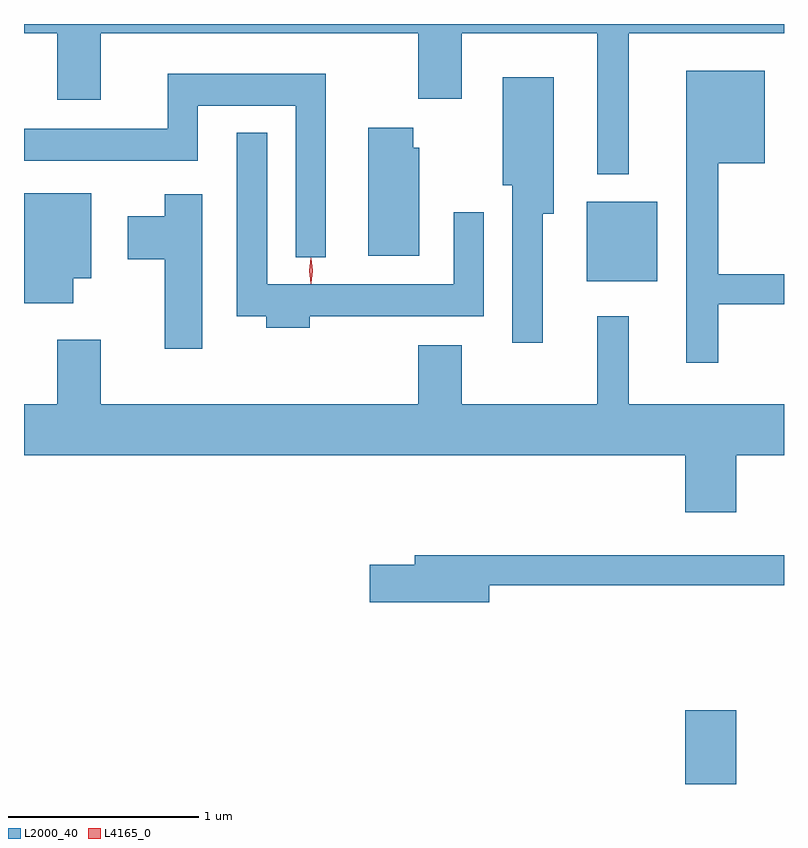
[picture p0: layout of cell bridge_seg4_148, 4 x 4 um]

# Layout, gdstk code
import gdstk
lib = gdstk.Library(unit=1e-6, precision=1e-09)
def R(c, l, rs):  # rectangles x0, y0, x1, y1
    for r in rs: c.add(gdstk.rectangle(r[:2], r[2:], *l))
def P(c, l, *ps):  # polygons
    for p in ps: c.add(gdstk.Polygon(p, *l))
L2000_40 = (2000, 40)
L4165_0 = (4165, 0)

bridge_seg4_148 = lib.new_cell('bridge_seg4_148')
R(bridge_seg4_148, L2000_40, [(794.496,1301.885,794.764,1302.274), (793.976,1304.531,794.349,1304.949)])
P(bridge_seg4_148, L2000_40, [(794.199,1305.836),(795.015,1305.836),(795.015,1305.885),(791.015,1305.885),(791.015,1305.836),(791.191,1305.836),(791.191,1305.486),(791.419,1305.486),(791.419,1305.836),(793.091,1305.836),(793.091,1305.491),(793.319,1305.491),(793.319,1305.836),(794.031,1305.836),(794.031,1305.093),(794.199,1305.093)],
  [(794.669,1304.411),(795.015,1304.411),(795.015,1304.569),(794.669,1304.569),(794.669,1305.151),(794.914,1305.151),(794.914,1305.639),(794.501,1305.639),(794.501,1304.103),(794.669,1304.103)],
  [(792.604,1305.624),(791.771,1305.624),(791.771,1305.334),(791.015,1305.334),(791.015,1305.166),(791.929,1305.166),(791.929,1305.456),(792.446,1305.456),(792.446,1304.658),(792.604,1304.658)],
  [(793.744,1304.886),(793.804,1304.886),(793.804,1305.604),(793.536,1305.604),(793.536,1305.036),(793.586,1305.036),(793.586,1304.208),(793.744,1304.208)],
  [(793.094,1305.234),(793.064,1305.234),(793.064,1305.339),(792.826,1305.339),(792.826,1304.666),(793.094,1304.666)],
  [(792.519,1304.346),(793.434,1304.346),(793.434,1304.893),(793.276,1304.893),(793.276,1304.514),(792.294,1304.514),(792.294,1305.313),(792.136,1305.313),(792.136,1304.346),(792.291,1304.346),(792.291,1304.286),(792.519,1304.286)],
  [(791.274,1304.546),(791.369,1304.546),(791.369,1304.994),(791.016,1304.994),(791.016,1304.416),(791.274,1304.416)],
  [(791.954,1304.989),(791.756,1304.989),(791.756,1304.874),(791.561,1304.874),(791.561,1304.646),(791.756,1304.646),(791.756,1304.176),(791.954,1304.176)],
  [(794.764,1303.616),(795.015,1303.616),(795.015,1303.884),(794.199,1303.884),(794.199,1304.348),(794.031,1304.348),(794.031,1303.884),(793.319,1303.884),(793.319,1304.194),(793.091,1304.194),(793.091,1303.884),(791.419,1303.884),(791.419,1304.224),(791.191,1304.224),(791.191,1303.884),(791.015,1303.884),(791.015,1303.616),(794.496,1303.616),(794.496,1303.316),(794.764,1303.316)],
  [(793.464,1302.931),(795.015,1302.931),(795.015,1303.089),(793.071,1303.089),(793.071,1303.039),(792.836,1303.039),(792.836,1302.841),(793.464,1302.841)])
P(bridge_seg4_148, L4165_0, [(792.526,1304.519),(792.525,1304.52),(792.516,1304.586),(792.525,1304.652),(792.526,1304.653),(792.526,1304.652),(792.536,1304.586),(792.526,1304.52)],
  [(792.524,1304.517),(792.515,1304.587),(792.524,1304.656),(792.525,1304.656),(792.525,1304.656),(792.535,1304.587),(792.525,1304.517),(792.525,1304.517)])

lib.write_gds('bridge_seg4_148.gds')
